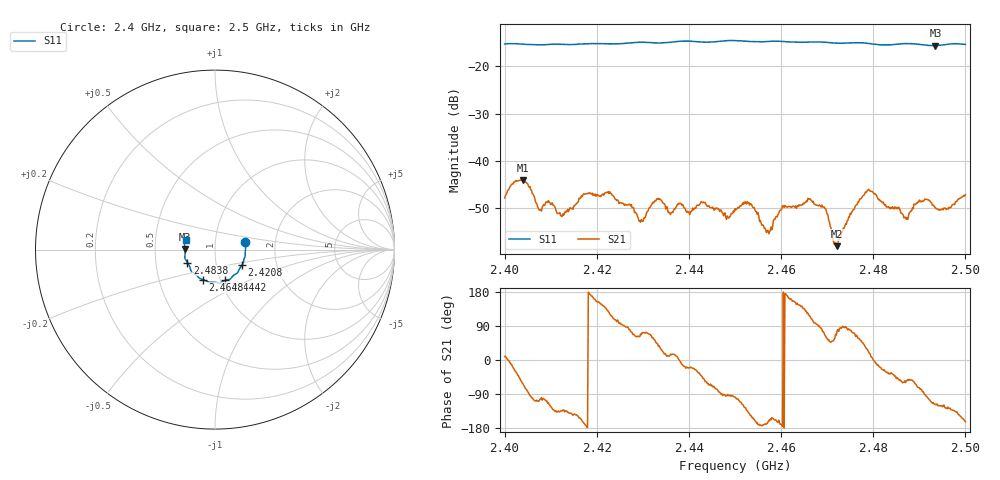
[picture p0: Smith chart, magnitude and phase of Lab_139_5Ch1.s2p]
# Hz S RI R 50
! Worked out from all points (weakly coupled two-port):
!   601 points, 2.4 GHz to 2.5 GHz, reference 50 ohm
!   highest |S21| = -43.97 dB at 2.404 GHz (marker M1); lowest = -58.0 dB at 2.4722 GHz (marker M2)
!   lowest |S11| = -15.6 dB at 2.4935 GHz (marker M3), VSWR 1.40, Z = 35.8 + j0.199 ohm
!   |S11| at or under -10 dB: start of sweep to end of sweep
!   S12 and S22 are empty: the file has one direction only
!   S11 on the Smith chart (normalised r, x): 2.4 GHz: 1.40, +0.12; 2.4208 GHz: 1.33, -0.24; 2.4442 GHz: 1.05, -0.37; 2.4648 GHz: 0.83, -0.29; 2.4838 GHz: 0.73, -0.11; 2.5 GHz: 0.72, +0.08
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2.4e9  0.1678 0.0411  0.00402 0.00066  0 0  0 0
2.404e9  0.1711 0.0173  0.00289 -0.00563  0 0  0 0
2.407667e9  0.1686 -0.0146  -0.000729 -0.00299  0 0  0 0
2.412667e9  0.1662 -0.0425  -0.00186 -0.00206  0 0  0 0
2.416667e9  0.159 -0.068  -0.00398 -0.00166  0 0  0 0
2.420833e9  0.1506 -0.0873  -0.00356 0.00226  0 0  0 0
2.429667e9  0.1253 -0.1293  0.000947 0.00222  0 0  0 0
2.433333e9  0.108 -0.1402  0.00323 0.00246  0 0  0 0
2.444167e9  0.0569 -0.1713  0.00157 -0.00294  0 0  0 0
2.45e9  0.0246 -0.1862  -0.000414 -0.00313  0 0  0 0
2.453167e9  0.00739 -0.1835  -0.00272 -0.00208  0 0  0 0
2.457167e9  -0.0211 -0.1824  -0.00178 -0.000517  0 0  0 0
2.460333e9  -0.037 -0.1798  -0.00339 -0.000293  0 0  0 0
2.464833e9  -0.0683 -0.1667  -0.00258 0.00252  0 0  0 0
2.466667e9  -0.0799 -0.1627  -0.00118 0.00364  0 0  0 0
2.469667e9  -0.092 -0.1546  0.00144 0.00279  0 0  0 0
2.472167e9  -0.1028 -0.1429  0.000276 0.00123  0 0  0 0
2.478667e9  -0.1357 -0.1116  0.00425 0.00235  0 0  0 0
2.483333e9  -0.1506 -0.0763  0.00266 -0.00198  0 0  0 0
2.483833e9  -0.1533 -0.0721  0.0027 -0.0018  0 0  0 0
2.4935e9  -0.166 0.00271  -0.00151 -0.00285  0 0  0 0
2.5e9  -0.1624 0.053  -0.00422 -0.0013  0 0  0 0
